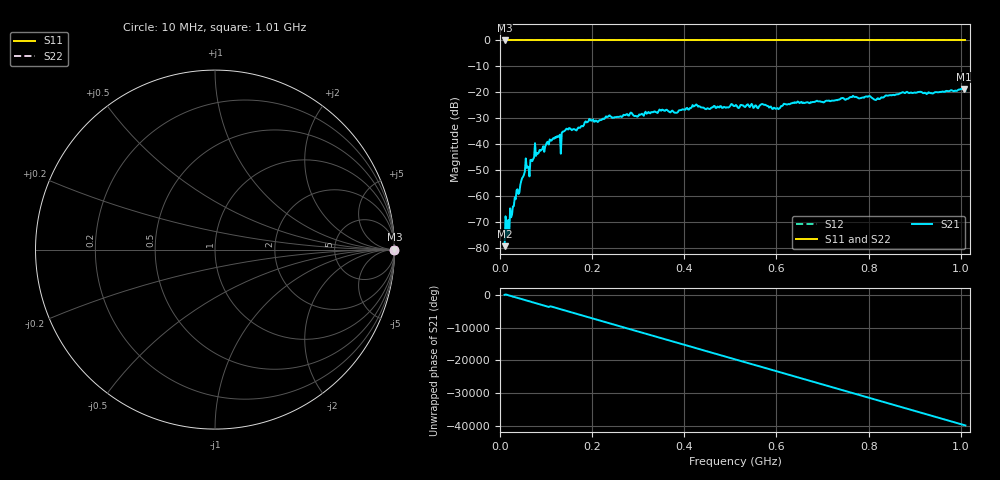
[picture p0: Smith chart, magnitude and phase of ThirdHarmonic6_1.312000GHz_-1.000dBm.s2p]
! 8/16/2025 2:31:31 PM
! C:\ANRITSUVNA\TEMP\TEMP.S2P
! CHANNEL.1
! TR.MEASUREMENT
! RAW.DATA
! RF.CORRECTION.OFF
! AVERAGING.OFF
! IF.BANDWIDTH: 5KHZ
! SWEEPTYPE:  FREQ.SWEEP(Linear)
! Reference Plane Port Info
! PORT:  PORT1  PORT2
! DISTANCE:  0  m  0  m
! TIME:  0  s  0  s
! PHASE.OFFSET:  0  deg.  0  deg.
! LOSS:  0  dB  0  dB
! REF.LOSS:  0  dB  0  dB
! REF.FREQ:  0  Hz  0  Hz
! Power Info
! POWER:  -20  dBm  -20  dBm
! EFF.POWER:  -20  dBm  -20  dBm
! SOURCE.ATTEN:  0  dB  0  dB
! TEST.ATTEN:  0  dB  0  dB
# GHZ S RI R 50.0
! FREQ.GHZ  S11RE  S11IM  S21RE  S21IM  S12RE  S12IM  S22RE  S22IM
!; PortSelection: Port_12
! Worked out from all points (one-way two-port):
!   501 points, 10 MHz to 1.01 GHz, reference 50 ohm
!   highest |S21| = -18.70 dB at 1.006 GHz (marker M1); lowest = -79.5 dB at 10 MHz (marker M2)
!   lowest |S11| = 0.0 dB at 10 MHz (marker M3)
!   |S11| at or under -10 dB: nowhere
!   |S22| runs from 0.0 to 0.0 dB; largest |S21 - S12| = 1.1
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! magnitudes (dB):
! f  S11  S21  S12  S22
! 10 MHz  0.0  -79.5  0.0  0.0
! 20 MHz  0.0  -75.0  0.0  0.0
! 34 MHz  0.0  -61.3  0.0  0.0
! 44 MHz  0.0  -55.9  0.0  0.0
! 52 MHz  0.0  -51.9  0.0  0.0
! 66 MHz  0.0  -46.2  0.0  0.0
! 72 MHz  0.0  -45.8  0.0  0.0
! 112 MHz  0.0  -38.7  0.0  0.0
! 130 MHz  0.0  -36.4  0.0  0.0
! 140 MHz  0.0  -35.0  0.0  0.0
! 178 MHz  0.0  -33.0  0.0  0.0
! 234 MHz  0.0  -29.5  0.0  0.0
! 344 MHz  0.0  -27.4  0.0  0.0
! 382 MHz  0.0  -27.9  0.0  0.0
! 422 MHz  0.0  -25.3  0.0  0.0
! 450 MHz  0.0  -26.2  0.0  0.0
! 510 MHz  0.0  -25.2  0.0  0.0
! 602 MHz  0.0  -26.1  0.0  0.0
! 678 MHz  0.0  -23.8  0.0  0.0
! 844 MHz  0.0  -21.2  0.0  0.0
! 1.006 GHz  0.0  -18.7  0.0  0.0
! 1.01 GHz  0.0  -19.5  0.0  0.0
